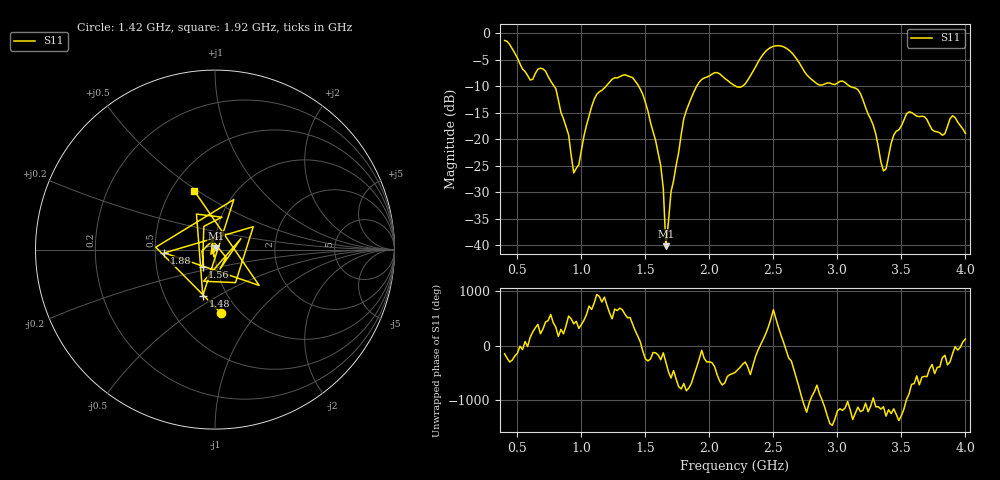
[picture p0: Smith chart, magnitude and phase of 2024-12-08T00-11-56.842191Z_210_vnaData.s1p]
!Created with skrf (http://scikit-rf.org).
# Hz S RI R 50.0
!freq ReS11 ImS11
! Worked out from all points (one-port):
!   181 points, 400 MHz to 4 GHz, reference 50 ohm
!   lowest |S11| = -40.2 dB at 1.66 GHz (marker M1), VSWR 1.02, Z = 50.5 + j0.841 ohm
!   |S11| at or under -10 dB: 787.7 MHz to 1.191 GHz (403.5 MHz wide, 40.8 % of centre); 1.448 GHz to 1.9 GHz (451.2 MHz wide, 27 % of centre); 3.099 GHz to end of sweep (the widest 3 of 4)
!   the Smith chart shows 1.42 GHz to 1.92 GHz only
!   S11 on the Smith chart (normalised r, x): 1.42 GHz: 0.83, -0.67; 1.48 GHz: 0.77, -0.43; 1.56 GHz: 0.86, -0.16; 1.88 GHz: 0.56, -0.02; 1.92 GHz: 0.65, +0.48
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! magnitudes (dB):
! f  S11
! 400 MHz  -1.3
! 600 MHz  -8.8
! 720 MHz  -7.1
! 860 MHz  -16.1
! 940 MHz  -26.3
! 1.1 GHz  -12.4
! 1.3 GHz  -8.2
! 1.42 GHz  -9.0
! 1.48 GHz  -11.5
! 1.56 GHz  -18.6
! 1.64 GHz  -29.3
! 1.66 GHz  -40.2
! 1.7 GHz  -29.9
! 1.76 GHz  -22.5
! 1.8 GHz  -16.1
! 1.88 GHz  -11.0
! 1.92 GHz  -9.2
! 2.2 GHz  -9.9
! 2.48 GHz  -2.6
! 2.66 GHz  -4.1
! 2.84 GHz  -9.5
! 3.1 GHz  -10.0
! 3.28 GHz  -17.3
! 3.36 GHz  -26.0
! 3.56 GHz  -14.8
! 3.82 GHz  -19.2
! 3.9 GHz  -15.5
! 4 GHz  -18.9
